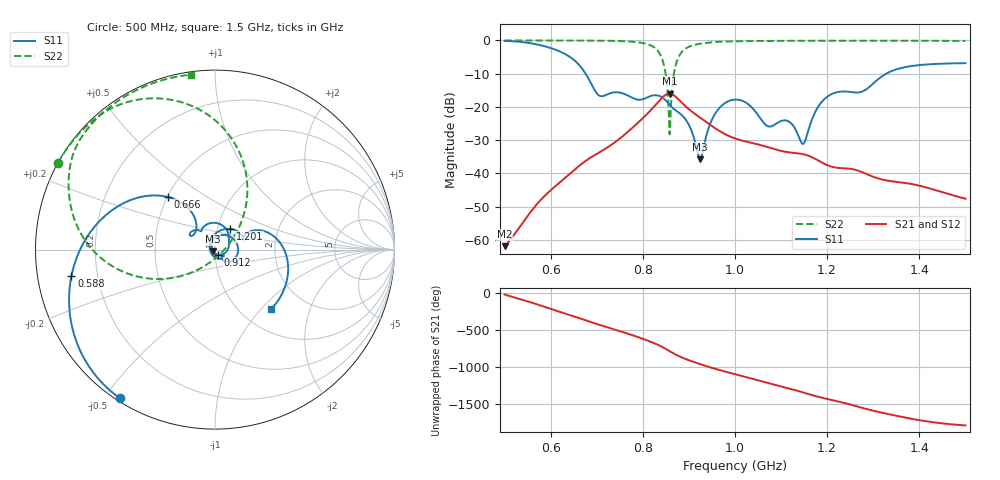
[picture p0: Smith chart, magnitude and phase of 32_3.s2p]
! TOUCHSTONE file generated by CST MICROWAVE STUDIO
! Date and time: Fri Oct  2 16:35:53 2020
! Project name: Scenario_1_Free_Space_out_of_line.cst
! Parameters = {Lambda=346.42; Step_1=17.321; dy1=-189.931; dx1=520; L_HA=400; MT=2.54; Rad_Dielectric=30; Rad_Lower=7.3; Rad_Upper=30; a_HA=580; a_WG=246; b_HA=500; b_WG=121; c_HA=0; c_WG=187; d_feed=85; h_feed=15; h_lower=18; h_upper=40}
! Header version: 2018
! Port assignment regex: !\s*Touchstone port\s*([0-9]+)\s*=\s*(CST MWS port|CST DS port)\s*([0-9]+|Zmin|Zmax)\s*\(\"(.*)\"\)(\s*mode\s*([0-9]+))?.*
! Touchstone port assignment:
! Touchstone port 1 = CST MWS port 1 ("")
! Touchstone port 2 = CST MWS port 2 ("")
# GHz S DB R 50
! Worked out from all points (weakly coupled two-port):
!   1003 points, 500 MHz to 1.5 GHz, reference 50 ohm
!   highest |S21| = -15.99 dB at 858 MHz (marker M1); lowest = -61.9 dB at 500 MHz (marker M2)
!   lowest |S11| = -35.7 dB at 924 MHz (marker M3), VSWR 1.03, Z = 48.7 - j0.971 ohm
!   |S11| at or under -10 dB: 675.8 MHz to 1.328 GHz (652.5 MHz wide, 65.1 % of centre)
!   |S22| runs from -28.2 to 0.0 dB; largest |S21 - S12| = 2.2e-05
!   S11 on the Smith chart (normalised r, x): 500 MHz: 0.01, -0.55; 588 MHz: 0.10, -0.09; 666 MHz: 0.50, +0.35; 912 MHz: 1.03, -0.06; 1.201 GHz: 1.15, +0.27; 1.5 GHz: 1.37, -1.14
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0.5  -0.15 -122.6  -61.87 -24.9  -61.87 -24.9  -0.01 151.1
0.588  -1.79 -169.6  -46.60 166.6  -46.60 166.6  -0.02 144.9
0.666  -8.08 132.0  -37.26 8.4  -37.26 8.4  -0.04 138.3
0.667  -8.25 131.2  -37.15 6.2  -37.15 6.2  -0.04 138.2
0.707  -16.71 139.0  -33.54 -76.7  -33.54 -76.7  -0.08 133.8
0.787  -17.76 127.4  -25.06 125.1  -25.06 125.1  -0.51 117.8
0.834  -16.61 85.5  -18.42 11.9  -18.42 11.9  -3.42 85.8
0.847  -17.67 62.2  -16.61 -29.7  -16.61 -29.7  -8.20 62.4
0.858  -19.34 44.9  -15.99 -69.9  -15.99 -69.9  -28.23 -30.5
0.876  -21.49 21.5  -17.53 -131.6  -17.53 -131.6  -5.49 -166.8
0.912  -29.83 -61.6  -21.99 140.5  -21.99 140.5  -1.35 161.0
0.924  -35.70 -142.6  -23.19 115.0  -23.19 115.0  -1.00 156.3
0.957  -22.03 75.8  -26.41 50.9  -26.41 50.9  -0.49 147.6
1  -17.78 2.3  -29.47 -20.5  -29.47 -20.5  -0.25 140.1
1.071  -25.79 -43.0  -32.09 -139.7  -32.09 -139.7  -0.15 132.2
1.117  -24.39 -56.1  -33.65 145.2  -33.65 145.2  -0.11 128.1
1.147  -31.12 -158.2  -34.19 93.1  -34.19 93.1  -0.10 125.6
1.167  -23.80 107.3  -35.12 56.2  -35.12 56.2  -0.10 124.1
1.201  -16.84 53.4  -37.55 2.5  -37.55 2.5  -0.09 121.4
1.276  -15.38 23.2  -39.62 -117.2  -39.62 -117.2  -0.09 115.8
1.334  -9.58 13.6  -42.23 157.3  -42.24 157.3  -0.09 111.3
1.5  -6.83 -46.4  -47.59 5.3  -47.63 5.4  -0.14 97.8
